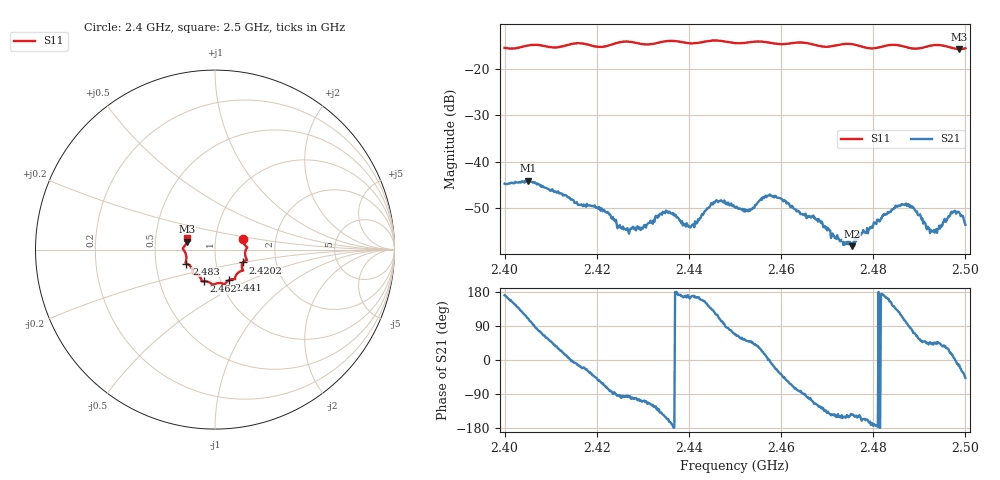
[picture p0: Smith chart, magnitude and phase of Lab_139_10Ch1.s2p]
# Hz S RI R 50
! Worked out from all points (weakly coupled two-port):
!   601 points, 2.4 GHz to 2.5 GHz, reference 50 ohm
!   highest |S21| = -44.10 dB at 2.4052 GHz (marker M1); lowest = -58.2 dB at 2.4753 GHz (marker M2)
!   lowest |S11| = -15.8 dB at 2.4987 GHz (marker M3), VSWR 1.39, Z = 36.4 + j3.28 ohm
!   |S11| at or under -10 dB: start of sweep to end of sweep
!   S12 and S22 are empty: the file has one direction only
!   S11 on the Smith chart (normalised r, x): 2.4 GHz: 1.36, +0.17; 2.4202 GHz: 1.35, -0.20; 2.441 GHz: 1.09, -0.39; 2.462 GHz: 0.83, -0.30; 2.483 GHz: 0.72, -0.12; 2.5 GHz: 0.73, +0.09
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2.4e9  0.1561 0.0603  -0.00573 0.000929  0 0  0 0
2.405167e9  0.1771 0.0153  -0.00198 0.00592  0 0  0 0
2.416667e9  0.1774 -0.0585  0.00329 -0.00114  0 0  0 0
2.420167e9  0.1561 -0.0717  0.00198 -0.00252  0 0  0 0
2.426667e9  0.1568 -0.1164  -0.00026 -0.00191  0 0  0 0
2.433333e9  0.1129 -0.1522  -0.00181 -0.00194  0 0  0 0
2.4355e9  0.1113 -0.1641  -0.00257 -0.00116  0 0  0 0
2.441e9  0.0768 -0.1705  -0.00208 0.000396  0 0  0 0
2.4455e9  0.053 -0.1936  -0.00213 0.00289  0 0  0 0
2.45e9  0.0268 -0.1862  0.00126 0.003  0 0  0 0
2.453167e9  -0.00126 -0.1922  0.00196 0.00221  0 0  0 0
2.4575e9  -0.0214 -0.1888  0.00444 -5.73e-05  0 0  0 0
2.462e9  -0.0619 -0.1763  0.00148 -0.00292  0 0  0 0
2.466667e9  -0.0766 -0.1669  -0.000752 -0.00247  0 0  0 0
2.475333e9  -0.1254 -0.1338  -0.000989 -0.000741  0 0  0 0
2.483e9  -0.1593 -0.078  -0.00263 0.00079  0 0  0 0
2.483333e9  -0.1611 -0.0773  -0.00272 0.000902  0 0  0 0
2.4875e9  -0.1598 -0.0538  -0.000212 0.0034  0 0  0 0
2.492833e9  -0.1779 0.00249  0.00126 0.00126  0 0  0 0
2.497333e9  -0.1637 0.0273  0.00287 0.000451  0 0  0 0
2.498667e9  -0.1561 0.0439  0.00276 -0.000624  0 0  0 0
2.5e9  -0.1534 0.0625  0.00142 -0.00154  0 0  0 0
